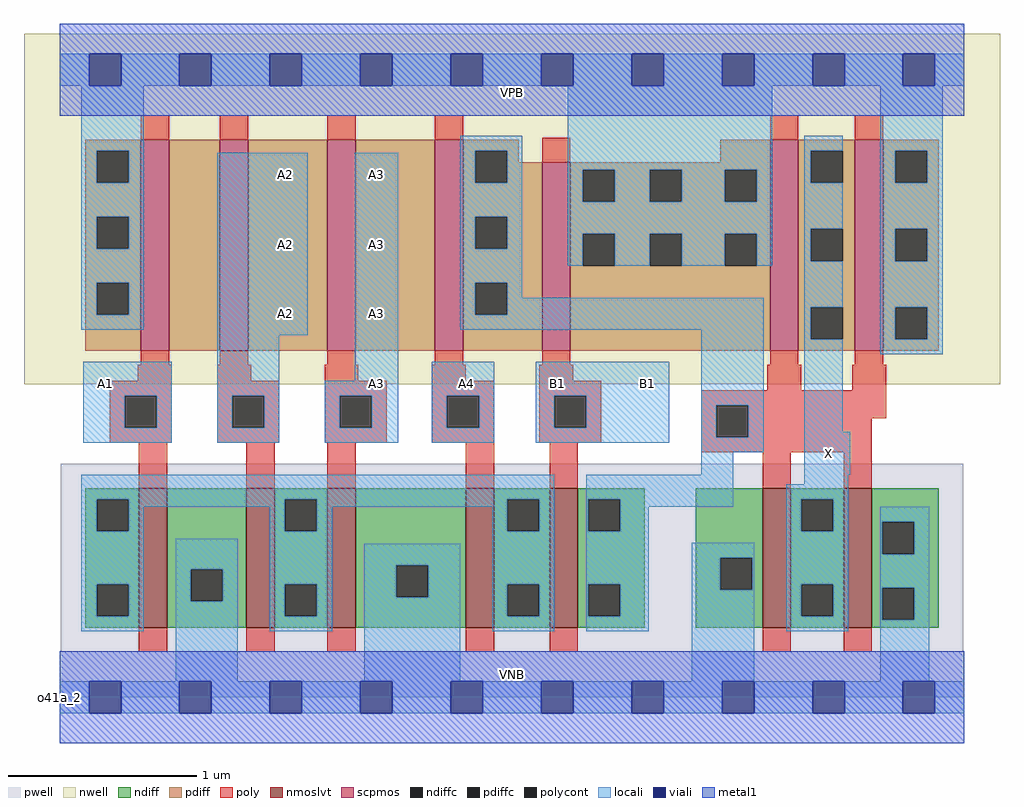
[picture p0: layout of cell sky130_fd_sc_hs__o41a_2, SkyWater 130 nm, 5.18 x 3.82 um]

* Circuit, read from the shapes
.subckt sky130_fd_sc_hs__o41a_2 A1 A2 A3 A4 B1 VGND VNB VPB VPWR X
XM1 VGND A1 n1 VNB sky130_fd_pr__nfet_01v8_lvt w=0.74 l=0.15
XM2 n1 A2 VGND VNB sky130_fd_pr__nfet_01v8_lvt w=0.74 l=0.15
XM3 VGND A3 n1 VNB sky130_fd_pr__nfet_01v8_lvt w=0.74 l=0.15
XM4 n1 A4 VGND VNB sky130_fd_pr__nfet_01v8_lvt w=0.74 l=0.15
XM5 n2 B1 n1 VNB sky130_fd_pr__nfet_01v8_lvt w=0.74 l=0.15
XM6 X n2 VGND VNB sky130_fd_pr__nfet_01v8_lvt w=0.74 l=0.15 m=2
XM7 n3 A1 VPWR VPB sky130_fd_pr__pfet_01v8 w=1.12 l=0.15
XM8 n4 A2 n3 VPB sky130_fd_pr__pfet_01v8 w=1.12 l=0.15
XM9 n5 A3 n4 VPB sky130_fd_pr__pfet_01v8 w=1.12 l=0.15
XM10 n2 A4 n5 VPB sky130_fd_pr__pfet_01v8 w=1.12 l=0.15
XM11 VPWR B1 n2 VPB sky130_fd_pr__pfet_01v8 w=1 l=0.15
XM12 X n2 VPWR VPB sky130_fd_pr__pfet_01v8 w=1.12 l=0.15 m=2
.ends

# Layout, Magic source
magic
tech sky130A
magscale 1 2
<< nwell >>
rect -38 332 998 704
<< pwell >>
rect 1 49 959 248
rect 0 0 960 49
<< scpmos >>
rect 86 368 116 592
rect 170 368 200 592
rect 284 368 314 592
rect 398 368 428 592
rect 512 368 542 568
rect 754 368 784 592
rect 844 368 874 592
<< nmoslvt >>
rect 84 74 114 222
rect 198 74 228 222
rect 284 74 314 222
rect 431 74 461 222
rect 520 74 550 222
rect 746 74 776 222
rect 832 74 862 222
<< ndiff >>
rect 27 210 84 222
rect 27 176 39 210
rect 73 176 84 210
rect 27 120 84 176
rect 27 86 39 120
rect 73 86 84 120
rect 27 74 84 86
rect 114 136 198 222
rect 114 102 139 136
rect 173 102 198 136
rect 114 74 198 102
rect 228 210 284 222
rect 228 176 239 210
rect 273 176 284 210
rect 228 120 284 176
rect 228 86 239 120
rect 273 86 284 120
rect 228 74 284 86
rect 314 140 431 222
rect 314 106 357 140
rect 391 106 431 140
rect 314 74 431 106
rect 461 210 520 222
rect 461 176 475 210
rect 509 176 520 210
rect 461 120 520 176
rect 461 86 475 120
rect 509 86 520 120
rect 461 74 520 86
rect 550 210 621 222
rect 550 176 561 210
rect 595 176 621 210
rect 550 120 621 176
rect 550 86 561 120
rect 595 86 621 120
rect 550 74 621 86
rect 675 148 746 222
rect 675 114 701 148
rect 735 114 746 148
rect 675 74 746 114
rect 776 210 832 222
rect 776 176 787 210
rect 821 176 832 210
rect 776 120 832 176
rect 776 86 787 120
rect 821 86 832 120
rect 776 74 832 86
rect 862 186 933 222
rect 862 152 873 186
rect 907 152 933 186
rect 862 116 933 152
rect 862 82 873 116
rect 907 82 933 116
rect 862 74 933 82
<< pdiff >>
rect 27 580 86 592
rect 27 546 39 580
rect 73 546 86 580
rect 27 510 86 546
rect 27 476 39 510
rect 73 476 86 510
rect 27 440 86 476
rect 27 406 39 440
rect 73 406 86 440
rect 27 368 86 406
rect 116 368 170 592
rect 200 368 284 592
rect 314 368 398 592
rect 428 580 487 592
rect 428 546 441 580
rect 475 568 487 580
rect 701 568 754 592
rect 475 546 512 568
rect 428 510 512 546
rect 428 476 441 510
rect 475 476 512 510
rect 428 440 512 476
rect 428 406 441 440
rect 475 406 512 440
rect 428 368 512 406
rect 542 560 754 568
rect 542 526 555 560
rect 589 526 626 560
rect 660 526 706 560
rect 740 526 754 560
rect 542 492 754 526
rect 542 458 555 492
rect 589 458 626 492
rect 660 458 706 492
rect 740 458 754 492
rect 542 368 754 458
rect 784 580 844 592
rect 784 546 797 580
rect 831 546 844 580
rect 784 497 844 546
rect 784 463 797 497
rect 831 463 844 497
rect 784 414 844 463
rect 784 380 797 414
rect 831 380 844 414
rect 784 368 844 380
rect 874 580 933 592
rect 874 546 887 580
rect 921 546 933 580
rect 874 497 933 546
rect 874 463 887 497
rect 921 463 933 497
rect 874 414 933 463
rect 874 380 887 414
rect 921 380 933 414
rect 874 368 933 380
<< ndiffc >>
rect 39 176 73 210
rect 39 86 73 120
rect 139 102 173 136
rect 239 176 273 210
rect 239 86 273 120
rect 357 106 391 140
rect 475 176 509 210
rect 475 86 509 120
rect 561 176 595 210
rect 561 86 595 120
rect 701 114 735 148
rect 787 176 821 210
rect 787 86 821 120
rect 873 152 907 186
rect 873 82 907 116
<< pdiffc >>
rect 39 546 73 580
rect 39 476 73 510
rect 39 406 73 440
rect 441 546 475 580
rect 441 476 475 510
rect 441 406 475 440
rect 555 526 589 560
rect 626 526 660 560
rect 706 526 740 560
rect 555 458 589 492
rect 626 458 660 492
rect 706 458 740 492
rect 797 546 831 580
rect 797 463 831 497
rect 797 380 831 414
rect 887 546 921 580
rect 887 463 921 497
rect 887 380 921 414
<< poly >>
rect 86 592 116 618
rect 170 592 200 618
rect 284 592 314 618
rect 398 592 428 618
rect 512 568 542 594
rect 754 592 784 618
rect 844 592 874 618
rect 86 353 116 368
rect 170 353 200 368
rect 284 353 314 368
rect 398 353 428 368
rect 512 353 542 368
rect 754 353 784 368
rect 844 353 874 368
rect 83 336 119 353
rect 53 320 119 336
rect 53 286 69 320
rect 103 286 119 320
rect 53 270 119 286
rect 167 336 203 353
rect 281 336 317 353
rect 395 336 431 353
rect 509 336 545 353
rect 167 320 233 336
rect 167 286 183 320
rect 217 286 233 320
rect 167 270 233 286
rect 281 320 347 336
rect 281 286 297 320
rect 331 286 347 320
rect 281 270 347 286
rect 395 320 461 336
rect 395 286 411 320
rect 445 286 461 320
rect 395 270 461 286
rect 509 320 575 336
rect 751 326 787 353
rect 841 326 877 353
rect 509 286 525 320
rect 559 286 575 320
rect 509 270 575 286
rect 681 310 877 326
rect 681 276 697 310
rect 731 296 877 310
rect 731 276 862 296
rect 84 222 114 270
rect 198 222 228 270
rect 284 222 314 270
rect 431 222 461 270
rect 520 222 550 270
rect 681 260 862 276
rect 746 222 776 260
rect 832 222 862 260
rect 84 48 114 74
rect 198 48 228 74
rect 284 48 314 74
rect 431 48 461 74
rect 520 48 550 74
rect 746 48 776 74
rect 832 48 862 74
<< polycont >>
rect 69 286 103 320
rect 183 286 217 320
rect 297 286 331 320
rect 411 286 445 320
rect 525 286 559 320
rect 697 276 731 310
<< locali >>
rect 0 649 31 683
rect 65 649 127 683
rect 161 649 223 683
rect 257 649 319 683
rect 353 649 415 683
rect 449 649 511 683
rect 545 649 607 683
rect 641 649 703 683
rect 737 649 799 683
rect 833 649 895 683
rect 929 649 960 683
rect 23 580 89 649
rect 23 546 39 580
rect 73 546 89 580
rect 425 580 491 596
rect 23 510 89 546
rect 23 476 39 510
rect 73 476 89 510
rect 23 440 89 476
rect 23 406 39 440
rect 73 406 89 440
rect 23 390 89 406
rect 167 384 263 578
rect 25 320 119 356
rect 25 286 69 320
rect 103 286 119 320
rect 25 270 119 286
rect 167 320 233 384
rect 313 336 359 578
rect 425 546 441 580
rect 475 546 491 580
rect 425 510 491 546
rect 425 476 441 510
rect 475 476 491 510
rect 425 440 491 476
rect 539 560 756 649
rect 539 526 555 560
rect 589 526 626 560
rect 660 526 706 560
rect 740 526 756 560
rect 539 492 756 526
rect 539 458 555 492
rect 589 458 626 492
rect 660 458 706 492
rect 740 458 756 492
rect 790 580 831 596
rect 790 546 797 580
rect 790 497 831 546
rect 790 463 797 497
rect 425 406 441 440
rect 475 424 491 440
rect 475 406 747 424
rect 425 390 747 406
rect 167 286 183 320
rect 217 286 233 320
rect 167 270 233 286
rect 281 320 359 336
rect 281 286 297 320
rect 331 286 359 320
rect 281 270 359 286
rect 395 320 461 356
rect 395 286 411 320
rect 445 286 461 320
rect 395 270 461 286
rect 505 320 647 356
rect 505 286 525 320
rect 559 286 647 320
rect 505 270 647 286
rect 681 310 747 390
rect 681 276 697 310
rect 731 276 747 310
rect 681 260 747 276
rect 790 414 831 463
rect 790 380 797 414
rect 790 282 831 380
rect 871 580 937 649
rect 871 546 887 580
rect 921 546 937 580
rect 871 497 937 546
rect 871 463 887 497
rect 921 463 937 497
rect 871 414 937 463
rect 871 380 887 414
rect 921 380 937 414
rect 871 364 937 380
rect 681 236 715 260
rect 23 210 525 236
rect 23 176 39 210
rect 73 202 239 210
rect 73 176 89 202
rect 23 120 89 176
rect 223 176 239 202
rect 273 202 475 210
rect 273 176 289 202
rect 23 86 39 120
rect 73 86 89 120
rect 23 70 89 86
rect 123 136 189 168
rect 123 102 139 136
rect 173 102 189 136
rect 123 17 189 102
rect 223 120 289 176
rect 459 176 475 202
rect 509 176 525 210
rect 223 86 239 120
rect 273 86 289 120
rect 223 70 289 86
rect 323 140 425 163
rect 323 106 357 140
rect 391 106 425 140
rect 323 17 425 106
rect 459 120 525 176
rect 459 86 475 120
rect 509 86 525 120
rect 459 70 525 86
rect 559 210 715 236
rect 790 236 839 282
rect 790 226 837 236
rect 559 176 561 210
rect 595 202 715 210
rect 771 210 837 226
rect 595 176 625 202
rect 559 120 625 176
rect 771 176 787 210
rect 821 176 837 210
rect 559 86 561 120
rect 595 86 625 120
rect 559 70 625 86
rect 671 148 737 164
rect 671 114 701 148
rect 735 114 737 148
rect 671 17 737 114
rect 771 120 837 176
rect 771 86 787 120
rect 821 86 837 120
rect 771 70 837 86
rect 871 186 923 202
rect 871 152 873 186
rect 907 152 923 186
rect 871 116 923 152
rect 871 82 873 116
rect 907 82 923 116
rect 871 17 923 82
rect 0 -17 31 17
rect 65 -17 127 17
rect 161 -17 223 17
rect 257 -17 319 17
rect 353 -17 415 17
rect 449 -17 511 17
rect 545 -17 607 17
rect 641 -17 703 17
rect 737 -17 799 17
rect 833 -17 895 17
rect 929 -17 960 17
<< viali >>
rect 31 649 65 683
rect 127 649 161 683
rect 223 649 257 683
rect 319 649 353 683
rect 415 649 449 683
rect 511 649 545 683
rect 607 649 641 683
rect 703 649 737 683
rect 799 649 833 683
rect 895 649 929 683
rect 31 -17 65 17
rect 127 -17 161 17
rect 223 -17 257 17
rect 319 -17 353 17
rect 415 -17 449 17
rect 511 -17 545 17
rect 607 -17 641 17
rect 703 -17 737 17
rect 799 -17 833 17
rect 895 -17 929 17
<< metal1 >>
rect 0 683 960 715
rect 0 649 31 683
rect 65 649 127 683
rect 161 649 223 683
rect 257 649 319 683
rect 353 649 415 683
rect 449 649 511 683
rect 545 649 607 683
rect 641 649 703 683
rect 737 649 799 683
rect 833 649 895 683
rect 929 649 960 683
rect 0 617 960 649
rect 0 17 960 49
rect 0 -17 31 17
rect 65 -17 127 17
rect 161 -17 223 17
rect 257 -17 319 17
rect 353 -17 415 17
rect 449 -17 511 17
rect 545 -17 607 17
rect 641 -17 703 17
rect 737 -17 799 17
rect 833 -17 895 17
rect 929 -17 960 17
rect 0 -49 960 -17
<< labels >>
rlabel comment s 0 0 0 0 4 o41a_2
flabel pwell s 0 0 960 49 0 FreeSans 200 0 0 0 VNB
port 7 nsew ground bidirectional
flabel nwell s 0 617 960 666 0 FreeSans 200 0 0 0 VPB
port 8 nsew power bidirectional
flabel metal1 s 0 617 960 666 0 FreeSans 340 0 0 0 VPWR
port 9 nsew power bidirectional
flabel metal1 s 0 0 960 49 0 FreeSans 340 0 0 0 VGND
port 6 nsew ground bidirectional
flabel locali s 31 316 65 350 0 FreeSans 340 0 0 0 A1
port 1 nsew signal input
flabel locali s 223 390 257 424 0 FreeSans 340 0 0 0 A2
port 2 nsew signal input
flabel locali s 223 464 257 498 0 FreeSans 340 0 0 0 A2
port 2 nsew signal input
flabel locali s 223 538 257 572 0 FreeSans 340 0 0 0 A2
port 2 nsew signal input
flabel locali s 319 316 353 350 0 FreeSans 340 0 0 0 A3
port 3 nsew signal input
flabel locali s 319 390 353 424 0 FreeSans 340 0 0 0 A3
port 3 nsew signal input
flabel locali s 319 464 353 498 0 FreeSans 340 0 0 0 A3
port 3 nsew signal input
flabel locali s 319 538 353 572 0 FreeSans 340 0 0 0 A3
port 3 nsew signal input
flabel locali s 415 316 449 350 0 FreeSans 340 0 0 0 A4
port 4 nsew signal input
flabel locali s 511 316 545 350 0 FreeSans 340 0 0 0 B1
port 5 nsew signal input
flabel locali s 607 316 641 350 0 FreeSans 340 0 0 0 B1
port 5 nsew signal input
flabel locali s 799 242 833 276 0 FreeSans 340 0 0 0 X
port 10 nsew signal output
<< properties >>
string LEFsite unit
string LEFclass CORE
string FIXED_BBOX 0 0 960 666
string GDS_FILE $PDKPATH/libs.ref/sky130_fd_sc_hs/gds/sky130_fd_sc_hs.gds
string LEFsymmetry X Y
string GDS_END 405044
string GDS_START 396320
<< end >>
